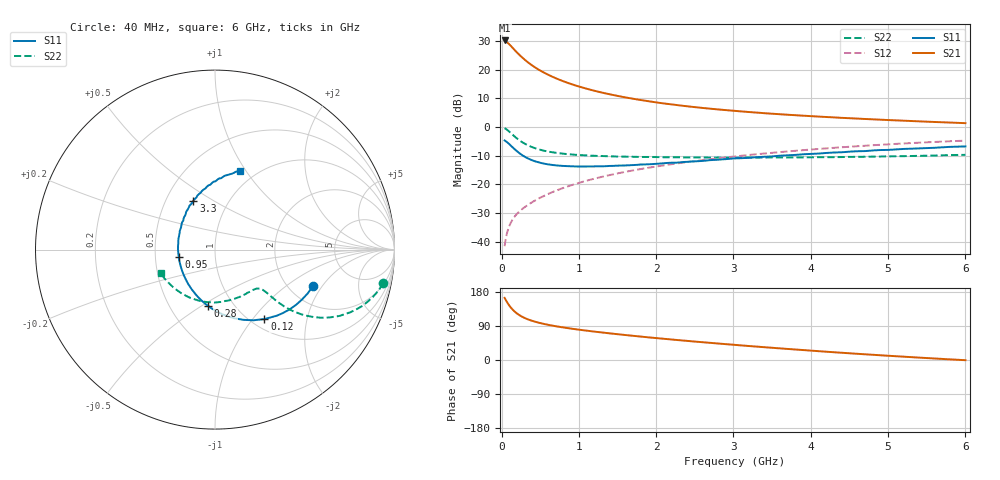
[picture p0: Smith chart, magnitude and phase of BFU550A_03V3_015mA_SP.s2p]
! Filename:  P:\Prog\Test\Noise\ATS_data\Testdata_Net\03 Spar\BFU550A_APG2013_35_C05_03p3V_015mA_SP_CM01_D.s2p
! Date/Time: Tue 16/Apr/2013 15:10:17
! BFU550A_APG2013_35_C05_03p3V_1to35mA_SP_CM01_Bias6_R.s2p
! MDIF S-parameter v. bias file
! BFU530A_APG2013_33_A09_08p0V_015mA_SP_CM01
! Date/time Mon Apr 15 14:22:32 2013
! VAR V_out= 3.3000
! VAR I_out= 15.0050
! VAR V_in= 0.8437
! VAR I_in= 0.1661
! Device data file deembeded for feedlines and parallel
! Original file: \03 Spar\BFU550A_APG2013_35_C05_03p3V_015mA_SP_CM01_R.s2p
! Feed-files: PR017V01_150413_Feed1.s2p, PR017V01_150413_Feed2.s2p
! Parallel-file: PR017V01_150413_Par.s2p
# MHz S MA R 50
!  Freq-MHz  S11-mag  S11-arg  S21-mag  S21-arg  S12-mag  S12-arg  S22-mag  S22-arg
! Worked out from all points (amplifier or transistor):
!   98 points, 40 MHz to 6 GHz, reference 50 ohm
!   highest |S21| = 30.2 dB at 40 MHz (marker M1)
!   |S21| within 3 dB of that: start of sweep to 158.3 MHz
!   unconditionally stable (mu >= 1): 1.078 GHz to 2.097 GHz
!   at 300 MHz: K = 0.74, MSG = 25.7 dB, |S12| = -27.9 dB
!   at 1.6 GHz: K = 1.01, MAG = 12.4 dB, |S12| = -15.6 dB
!   at 6 GHz: K = 0.91, MSG = 3.0 dB, |S12| = -4.8 dB
!   S11 on the Smith chart (normalised r, x): 40 MHz: 2.69, -1.64; 120 MHz: 1.15, -1.15; 280 MHz: 0.76, -0.53; 950 MHz: 0.66, -0.05; 3.3 GHz: 0.68, +0.41; 6 GHz: 0.85, +0.94
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40  0.5828 -20.2  32.19 163.8  0.008411 82.2  0.955 -11.3
60  0.559 -29.8  30.8 156.5  0.01227 78.3  0.919 -16.6
80  0.5325 -38.8  29.25 149.8  0.01572 75.3  0.8767 -21.1
100  0.504 -47.0  27.59 143.9  0.0188 73.0  0.8306 -24.9
120  0.475 -54.6  25.92 138.6  0.02159 71.1  0.7855 -28.1
160  0.4227 -67.8  22.65 129.8  0.02649 68.7  0.7023 -32.7
200  0.3789 -79.1  19.87 122.8  0.03076 67.6  0.6319 -35.7
240  0.3437 -88.7  17.61 117.3  0.03464 67.3  0.5764 -37.6
280  0.3161 -97.1  15.72 112.8  0.0384 67.4  0.5322 -38.8
320  0.2941 -104.5  14.14 109.1  0.04206 67.6  0.4966 -39.4
380  0.2693 -114.3  12.26 104.5  0.04756 68.2  0.4554 -39.8
500  0.2387 -130.3  9.638 97.5  0.05862 69.4  0.4027 -39.9
700  0.2151 -150.4  7.096 89.2  0.07746 70.6  0.3563 -40.0
950  0.2061 -168.9  5.335 81.5  0.1015 70.9  0.3291 -41.4
1050  0.2052 -174.9  4.855 78.7  0.1112 70.8  0.3228 -42.2
1500  0.2126 163.1  3.486 68.1  0.1555 68.9  0.3061 -48.1
2050  0.2309 144.1  2.629 56.9  0.2099 65.2  0.2983 -57.9
3100  0.2865 117.6  1.871 38.5  0.3158 56.5  0.2927 -80.9
3300  0.2986 113.8  1.783 35.3  0.336 54.6  0.2933 -85.4
4100  0.345 99.0  1.52 23.3  0.4148 46.7  0.2977 -106.0
5200  0.415 82.5  1.29 8.8  0.5174 34.8  0.3107 -134.4
6000  0.4593 72.2  1.167 -0.5  0.5787 25.7  0.3278 -156.2
